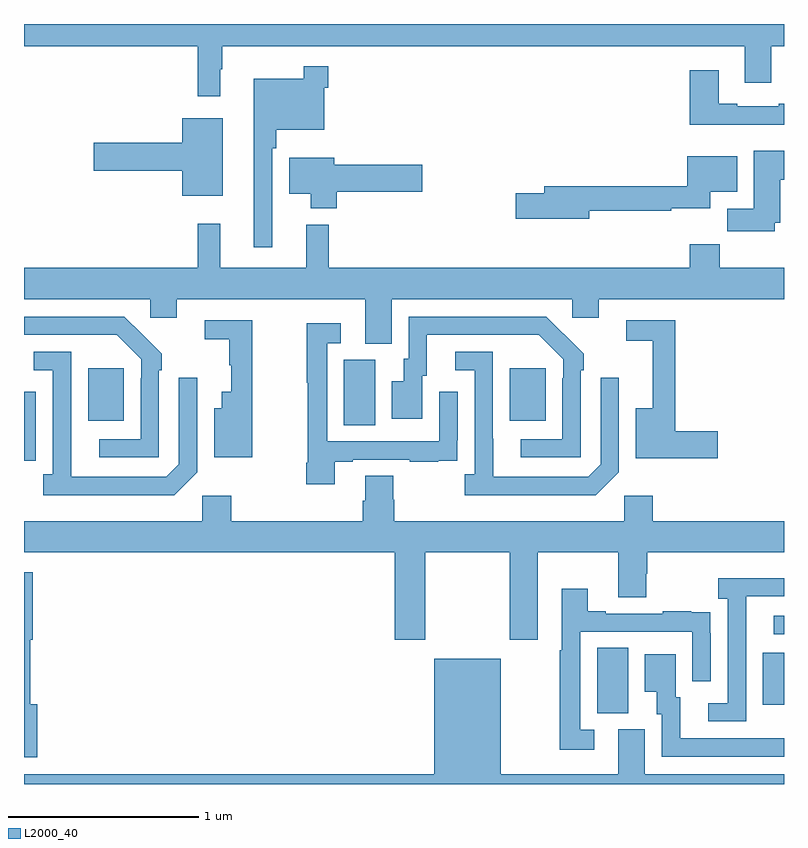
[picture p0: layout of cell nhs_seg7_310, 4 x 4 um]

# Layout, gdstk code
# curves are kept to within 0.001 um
import gdstk
lib = gdstk.Library(unit=1e-6, precision=1e-09)
def R(c, l, rs):  # rectangles x0, y0, x1, y1
    for r in rs: c.add(gdstk.rectangle(r[:2], r[2:], *l))
def P(c, l, *ps):  # polygons
    for p in ps: c.add(gdstk.Polygon(p, *l))
L2000_40 = (2000, 40)

nhs_seg7_310 = lib.new_cell('nhs_seg7_310')
R(nhs_seg7_310, L2000_40, [(136.016,1062.373,136.18,1062.716), (136.889,1062.417,137,1062.691), (136.947,1062.789,137,1062.885), (134.684,1063.888,134.848,1064.232), (133.337,1063.913,133.525,1064.188), (135.557,1063.913,135.745,1064.188)])
P(nhs_seg7_310, L2000_40, [(134.032,1065.761),(134.044,1065.761),(134.044,1065.884),(136.793,1065.884),(136.793,1065.69),(136.933,1065.69),(136.933,1065.884),(137,1065.884),(137,1066),(133,1066),(133,1065.884),(133.915,1065.884),(133.915,1065.621),(134.032,1065.621)],
  [(134.307,1065.347),(134.327,1065.347),(134.327,1065.443),(134.58,1065.443),(134.58,1065.665),(134.6,1065.665),(134.6,1065.778),(134.472,1065.778),(134.472,1065.712),(134.21,1065.712),(134.21,1064.826),(134.307,1064.826)],
  [(137,1065.58),(136.973,1065.58),(136.973,1065.567),(136.753,1065.567),(136.753,1065.58),(136.657,1065.58),(136.657,1065.757),(136.505,1065.757),(136.505,1065.47),(137,1065.47)],
  [(134.047,1065.505),(133.832,1065.505),(133.832,1065.374),(133.368,1065.374),(133.368,1065.227),(133.832,1065.227),(133.832,1065.095),(134.047,1065.095)],
  [(136.951,1064.954),(136.981,1064.954),(136.981,1065.18),(137,1065.18),(137,1065.334),(136.841,1065.334),(136.841,1065.028),(136.702,1065.028),(136.702,1064.91),(136.951,1064.91)],
  [(135.976,1065.018),(136.406,1065.018),(136.406,1065.029),(136.612,1065.029),(136.612,1065.116),(136.753,1065.116),(136.753,1065.304),(136.49,1065.304),(136.49,1065.146),(135.737,1065.146),(135.737,1065.11),(135.588,1065.11),(135.588,1064.975),(135.976,1064.975)],
  [(134.645,1065.118),(135.097,1065.118),(135.097,1065.26),(134.632,1065.26),(134.632,1065.295),(134.396,1065.295),(134.396,1065.107),(134.51,1065.107),(134.51,1065.029),(134.645,1065.029)],
  [(134.935,1064.552),(135.885,1064.552),(135.885,1064.454),(136.024,1064.454),(136.024,1064.552),(137,1064.552),(137,1064.716),(136.661,1064.716),(136.661,1064.84),(136.505,1064.84),(136.505,1064.716),(134.603,1064.716),(134.603,1064.944),(134.486,1064.944),(134.486,1064.716),(134.033,1064.716),(134.033,1064.95),(133.915,1064.95),(133.915,1064.716),(133,1064.716),(133,1064.552),(133.665,1064.552),(133.665,1064.454),(133.804,1064.454),(133.804,1064.552),(134.795,1064.552),(134.795,1064.317),(134.935,1064.317)],
  [(133.71,1064.177),(133.725,1064.177),(133.725,1064.265),(133.528,1064.46),(133,1064.46),(133,1064.364),(133.489,1064.364),(133.617,1064.235),(133.617,1064.135),(133.614,1064.135),(133.614,1063.815),(133.395,1063.815),(133.395,1063.719),(133.71,1063.719)],
  [(135.93,1064.177),(135.945,1064.177),(135.945,1064.265),(135.748,1064.46),(135.024,1064.46),(135.024,1064.238),(134.999,1064.238),(134.999,1064.119),(134.936,1064.119),(134.936,1063.923),(135.097,1063.923),(135.097,1064.148),(135.121,1064.148),(135.121,1064.364),(135.709,1064.364),(135.837,1064.235),(135.837,1064.135),(135.834,1064.135),(135.834,1063.815),(135.615,1063.815),(135.615,1063.719),(135.93,1063.719)],
  [(136.651,1063.856),(136.427,1063.856),(136.427,1064.442),(136.17,1064.442),(136.17,1064.334),(136.31,1064.334),(136.31,1063.978),(136.22,1063.978),(136.22,1063.714),(136.651,1063.714)],
  [(134.2,1064.442),(133.95,1064.442),(133.95,1064.341),(134.079,1064.341),(134.079,1064.205),(134.09,1064.205),(134.09,1064.065),(134.042,1064.065),(134.042,1063.978),(134,1063.978),(134,1063.721),(134.2,1063.721)],
  [(134.635,1063.695),(134.731,1063.695),(134.731,1063.707),(135.031,1063.707),(135.031,1063.695),(135.179,1063.695),(135.179,1063.701),(135.281,1063.701),(135.281,1063.81),(135.282,1063.81),(135.282,1064.065),(135.186,1064.065),(135.186,1063.803),(134.595,1063.803),(134.595,1064.319),(134.668,1064.319),(134.668,1064.425),(134.487,1064.425),(134.487,1064.112),(134.494,1064.112),(134.494,1063.69),(134.486,1063.69),(134.486,1063.578),(134.635,1063.578)],
  [(136.131,1063.641),(136.131,1064.137),(136.035,1064.137),(136.035,1063.683),(135.969,1063.617),(135.469,1063.617),(135.468,1064.274),(135.27,1064.274),(135.27,1064.178),(135.372,1064.178),(135.372,1063.63),(135.321,1063.63),(135.321,1063.52),(136.01,1063.52)],
  [(133.911,1063.641),(133.911,1064.137),(133.815,1064.137),(133.815,1063.683),(133.749,1063.617),(133.249,1063.617),(133.248,1064.274),(133.05,1064.274),(133.05,1064.178),(133.152,1064.178),(133.152,1063.63),(133.101,1063.63),(133.101,1063.52),(133.79,1063.52)],
  [(133.061,1063.81),(133.062,1063.81),(133.062,1064.065),(133,1064.065),(133,1063.701),(133.061,1063.701)],
  [(134.948,1063.497),(134.943,1063.497),(134.943,1063.622),(134.795,1063.622),(134.795,1063.49),(134.783,1063.49),(134.783,1063.384),(134.09,1063.384),(134.09,1063.516),(133.938,1063.516),(133.938,1063.384),(133,1063.384),(133,1063.22),(134.951,1063.22),(134.951,1062.759),(135.111,1062.759),(135.111,1063.22),(135.556,1063.22),(135.556,1062.759),(135.703,1062.759),(135.703,1063.22),(136.127,1063.22),(136.127,1062.982),(136.275,1062.982),(136.275,1063.107),(136.28,1063.107),(136.28,1063.22),(137,1063.22),(137,1063.384),(136.31,1063.384),(136.31,1063.516),(136.158,1063.516),(136.158,1063.384),(134.948,1063.384)],
  [(133.07,1062.42),(133.033,1062.42),(133.033,1062.758),(133.046,1062.758),(133.046,1063.114),(133,1063.114),(133,1062.141),(133.07,1062.141)],
  [(136.8,1062.787),(136.801,1062.787),(136.801,1062.987),(137,1062.987),(137,1063.084),(136.653,1063.084),(136.653,1062.974),(136.704,1062.974),(136.704,1062.426),(136.602,1062.426),(136.602,1062.33),(136.8,1062.33)],
  [(136,1062.285),(135.927,1062.285),(135.927,1062.801),(136.518,1062.801),(136.518,1062.54),(136.614,1062.54),(136.614,1062.794),(136.613,1062.794),(136.613,1062.903),(136.511,1062.903),(136.511,1062.91),(136.363,1062.91),(136.363,1062.897),(136.063,1062.897),(136.063,1062.91),(135.967,1062.91),(135.967,1063.027),(135.831,1063.027),(135.831,1062.704),(135.819,1062.704),(135.819,1062.18),(136,1062.18)],
  [(137,1062.241),(136.937,1062.241),(136.937,1062.24),(136.453,1062.24),(136.453,1062.456),(136.429,1062.456),(136.429,1062.682),(136.268,1062.682),(136.268,1062.485),(136.331,1062.485),(136.331,1062.366),(136.356,1062.366),(136.356,1062.144),(137,1062.144)],
  [(136.267,1062.288),(136.127,1062.288),(136.127,1062.052),(135.508,1062.052),(135.508,1062.658),(135.158,1062.658),(135.158,1062.052),(133,1062.052),(133,1062),(137,1062),(137,1062.052),(136.267,1062.052)])

lib.write_gds('nhs_seg7_310.gds')
